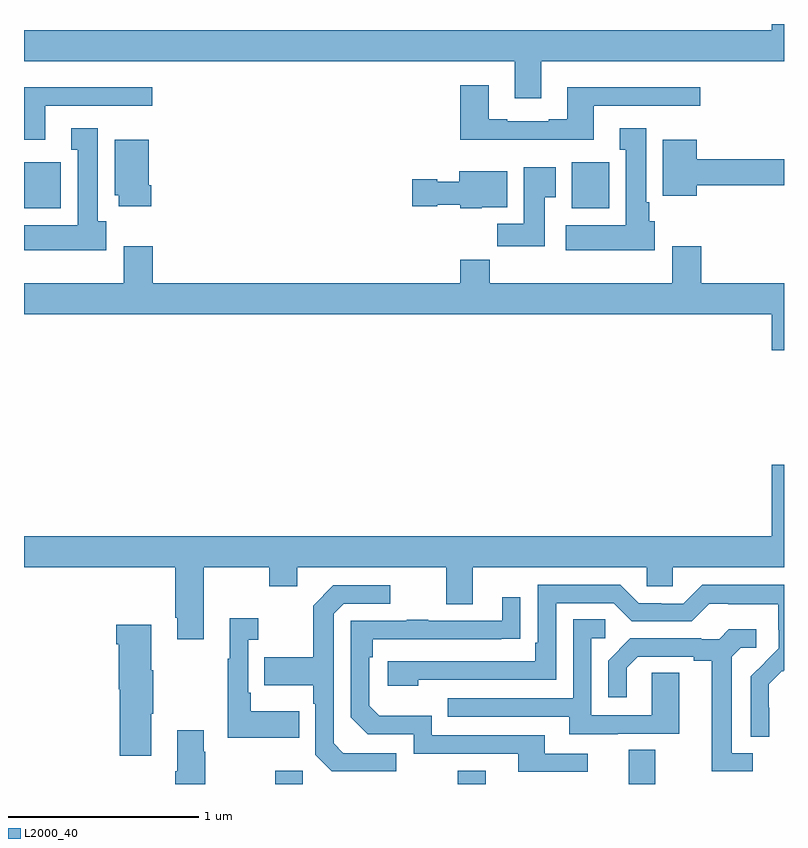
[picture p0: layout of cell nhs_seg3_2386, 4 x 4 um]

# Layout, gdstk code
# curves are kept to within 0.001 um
import gdstk
lib = gdstk.Library(unit=1e-6, precision=1e-09)
def R(c, l, rs):  # rectangles x0, y0, x1, y1
    for r in rs: c.add(gdstk.rectangle(r[:2], r[2:], *l))
def P(c, l, *ps):  # polygons
    for p in ps: c.add(gdstk.Polygon(p, *l))
L2000_40 = (2000, 40)

nhs_seg3_2386 = lib.new_cell('nhs_seg3_2386')
R(nhs_seg3_2386, L2000_40, [(234.322,742.4,234.468,742.471), (235.282,742.4,235.429,742.471), (236.183,742.4,236.323,742.58), (233,745.43,233.194,745.672), (235.883,745.43,236.08,745.672)])
P(nhs_seg3_2386, L2000_40, [(235.723,746.204),(237,746.204),(237,746.4),(236.936,746.4),(236.936,746.368),(233,746.368),(233,746.204),(235.583,746.204),(235.583,746.01),(235.723,746.01)],
  [(235.999,745.971),(236.56,745.971),(236.56,746.068),(235.859,746.068),(235.859,745.9),(235.763,745.9),(235.763,745.887),(235.543,745.887),(235.543,745.9),(235.447,745.9),(235.447,746.077),(235.295,746.077),(235.295,745.79),(235.999,745.79)],
  [(233.113,745.971),(233.674,745.971),(233.674,746.068),(233,746.068),(233,745.79),(233.113,745.79)],
  [(236.32,745.362),(236.29,745.362),(236.29,745.462),(236.275,745.462),(236.275,745.852),(236.135,745.852),(236.135,745.739),(236.168,745.739),(236.168,745.342),(235.851,745.342),(235.851,745.208),(236.32,745.208)],
  [(233.434,745.362),(233.389,745.362),(233.389,745.852),(233.249,745.852),(233.249,745.739),(233.282,745.739),(233.282,745.342),(233,745.342),(233,745.208),(233.434,745.208)],
  [(233.669,745.552),(233.656,745.552),(233.656,745.792),(233.477,745.792),(233.477,745.5),(233.498,745.5),(233.498,745.44),(233.669,745.44)],
  [(236.542,745.552),(237,745.552),(237,745.688),(236.542,745.688),(236.542,745.792),(236.363,745.792),(236.363,745.496),(236.542,745.496)],
  [(235.741,745.489),(235.798,745.489),(235.798,745.645),(235.631,745.645),(235.631,745.348),(235.492,745.348),(235.492,745.23),(235.741,745.23)],
  [(235.41,745.436),(235.543,745.436),(235.543,745.624),(235.292,745.624),(235.292,745.57),(235.176,745.57),(235.176,745.583),(235.044,745.583),(235.044,745.441),(235.176,745.441),(235.176,745.448),(235.296,745.448),(235.296,745.43),(235.41,745.43)],
  [(237,745.036),(236.564,745.036),(236.564,745.231),(236.411,745.231),(236.411,745.036),(235.451,745.036),(235.451,745.16),(235.295,745.16),(235.295,745.036),(233.678,745.036),(233.678,745.231),(233.525,745.231),(233.525,745.036),(233,745.036),(233,744.872),(236.936,744.872),(236.936,744.684),(237,744.684)],
  [(233.947,743.54),(234.292,743.54),(234.292,743.441),(234.439,743.441),(234.439,743.54),(235.223,743.54),(235.223,743.346),(235.363,743.346),(235.363,743.54),(236.277,743.54),(236.277,743.442),(236.415,743.442),(236.415,743.54),(237,743.54),(237,744.079),(236.936,744.079),(236.936,743.704),(233,743.704),(233,743.54),(233.795,743.54),(233.795,743.275),(233.807,743.275),(233.807,743.163),(233.947,743.163)],
  [(236.922,742.802),(236.921,742.925),(236.991,742.995),(236.994,742.992),(237,742.998),(237,743.449),(236.569,743.449),(236.469,743.349),(236.354,743.349),(236.354,743.352),(236.235,743.352),(236.139,743.448),(235.704,743.448),(235.704,743.143),(235.691,743.143),(235.691,743.046),(234.915,743.046),(234.915,742.916),(235.076,742.916),(235.076,742.95),(235.8,742.95),(235.8,743.352),(236.103,743.352),(236.199,743.256),(236.514,743.256),(236.607,743.349),(236.707,743.349),(236.707,743.345),(236.97,743.345),(236.97,743.211),(236.972,743.211),(236.972,743.114),(236.826,742.966),(236.826,742.648),(236.922,742.648)],
  [(234.958,742.563),(234.681,742.563),(234.63,742.614),(234.63,743.295),(234.684,743.349),(234.928,743.349),(234.928,743.445),(234.627,743.445),(234.522,743.339),(234.522,743.067),(234.265,743.067),(234.265,742.919),(234.522,742.919),(234.522,742.823),(234.534,742.823),(234.534,742.554),(234.621,742.467),(234.958,742.467)],
  [(235.966,742.56),(235.741,742.56),(235.741,742.656),(235.146,742.656),(235.146,742.759),(234.869,742.759),(234.816,742.812),(234.816,743.066),(234.836,743.066),(234.836,743.163),(235.613,743.164),(235.613,743.383),(235.517,743.383),(235.517,743.259),(235.127,743.259),(235.127,743.264),(235.015,743.264),(235.015,743.259),(234.72,743.259),(234.72,742.752),(234.81,742.662),(235.05,742.662),(235.05,742.56),(235.601,742.56),(235.601,742.464),(235.966,742.464)],
  [(234.449,742.783),(234.193,742.783),(234.193,742.879),(234.18,742.879),(234.18,743.159),(234.232,743.159),(234.232,743.272),(234.083,743.272),(234.083,743.059),(234.072,743.059),(234.072,742.643),(234.449,742.643)],
  [(236.125,742.665),(236.449,742.665),(236.449,742.985),(236.304,742.985),(236.304,742.761),(235.986,742.761),(235.986,743.166),(236.059,743.166),(236.059,743.267),(235.89,743.267),(235.89,742.851),(235.231,742.851),(235.231,742.755),(235.871,742.755),(235.871,742.661),(236.125,742.661)],
  [(233.671,742.771),(233.679,742.771),(233.679,742.999),(233.671,742.999),(233.671,743.239),(233.486,743.239),(233.486,743.135),(233.498,743.135),(233.498,742.899),(233.504,742.899),(233.504,742.548),(233.671,742.548)],
  [(236.836,742.563),(236.725,742.563),(236.725,743.071),(236.772,743.118),(236.854,743.118),(236.854,743.215),(236.71,743.215),(236.658,743.163),(236.564,743.163),(236.564,743.166),(236.192,743.166),(236.076,743.05),(236.076,742.857),(236.173,742.857),(236.173,743.013),(236.23,743.07),(236.525,743.07),(236.525,743.048),(236.621,743.048),(236.621,742.467),(236.836,742.467)],
  [(233.955,742.571),(233.947,742.571),(233.947,742.684),(233.807,742.684),(233.807,742.468),(233.795,742.468),(233.795,742.4),(233.955,742.4)])

lib.write_gds('nhs_seg3_2386.gds')
